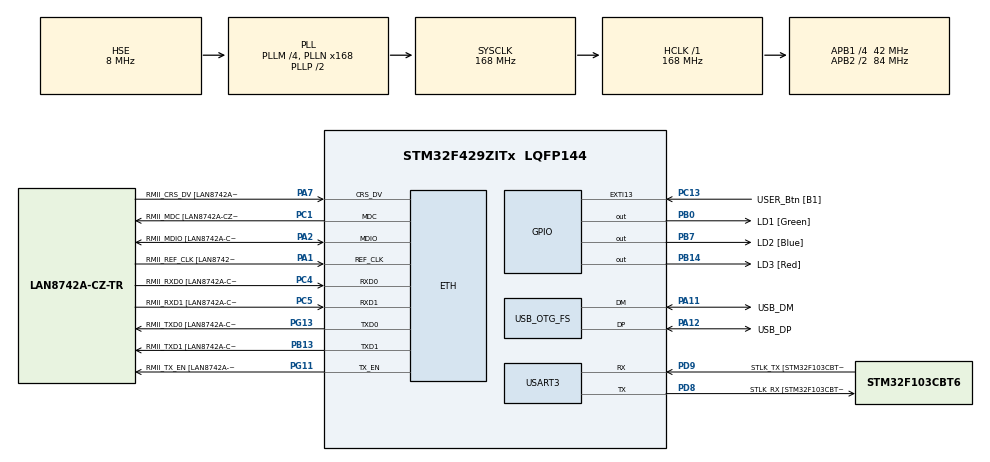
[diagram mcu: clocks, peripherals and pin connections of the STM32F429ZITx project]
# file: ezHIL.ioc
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ETH.MediaInterface=HAL_ETH_RMII_MODE
ETH.RxMode=ETH_RXINTERRUPT_MODE
Mcu.Family=STM32F4
Mcu.Name=STM32F429ZITx
Mcu.Package=LQFP144
NVIC.ETH_IRQn=true\:0\:0\:false\:false\:true\:false\:false\:true\:true
NVIC.OTG_FS_IRQn=true\:0\:0\:false\:false\:true\:false\:true\:true\:true
NVIC.PriorityGroup=NVIC_PRIORITYGROUP_4
NVIC.TIM6_DAC_IRQn=true\:15\:0\:false\:false\:true\:false\:false\:true\:true
NVIC.TimeBase=TIM6_DAC_IRQn
NVIC.TimeBaseIP=TIM6
NVIC.USART3_IRQn=true\:0\:0\:false\:false\:true\:false\:true\:true\:true
PA1.GPIO_Label=RMII_REF_CLK [LAN8742A-CZ-TR_REFCLK0]
PA1.Mode=RMII
PA1.Signal=ETH_REF_CLK
PA11.GPIO_Label=USB_DM
PA11.Mode=Device_Only
PA11.Signal=USB_OTG_FS_DM
PA12.GPIO_Label=USB_DP
PA12.Mode=Device_Only
PA12.Signal=USB_OTG_FS_DP
PA2.GPIO_Label=RMII_MDIO [LAN8742A-CZ-TR_MDIO]
PA2.Mode=RMII
PA2.Signal=ETH_MDIO
PA7.GPIO_Label=RMII_CRS_DV [LAN8742A-CZ-TR_CRS_DV]
PA7.Mode=RMII
PA7.Signal=ETH_CRS_DV
PB0.GPIO_Label=LD1 [Green]
PB0.Signal=GPIO_Output
PB13.GPIO_Label=RMII_TXD1 [LAN8742A-CZ-TR_TXD1]
PB13.Mode=RMII
PB13.Signal=ETH_TXD1
PB14.GPIO_Label=LD3 [Red]
PB14.Signal=GPIO_Output
PB7.GPIO_Label=LD2 [Blue]
PB7.Signal=GPIO_Output
PC1.GPIO_Label=RMII_MDC [LAN8742A-CZ-TR_MDC]
PC1.Mode=RMII
PC1.Signal=ETH_MDC
PC13.GPIO_Label=USER_Btn [B1]
PC13.Signal=GPXTI13
PC4.GPIO_Label=RMII_RXD0 [LAN8742A-CZ-TR_RXD0]
PC4.Mode=RMII
PC4.Signal=ETH_RXD0
PC5.GPIO_Label=RMII_RXD1 [LAN8742A-CZ-TR_RXD1]
PC5.Mode=RMII
PC5.Signal=ETH_RXD1
PD8.GPIO_Label=STLK_RX [STM32F103CBT6_PA3]
PD8.Mode=Asynchronous
PD8.Signal=USART3_TX
PD9.GPIO_Label=STLK_TX [STM32F103CBT6_PA2]
PD9.Mode=Asynchronous
PD9.Signal=USART3_RX
PG11.GPIO_Label=RMII_TX_EN [LAN8742A-CZ-TR_TXEN]
PG11.Mode=RMII
PG11.Signal=ETH_TX_EN
PG13.GPIO_Label=RMII_TXD0 [LAN8742A-CZ-TR_TXD0]
PG13.Mode=RMII
PG13.Signal=ETH_TXD0
PH0/OSC_IN.GPIO_Label=MCO [STM32F103CBT6_PA8]
PH0/OSC_IN.Mode=HSE-External-Oscillator
PH0/OSC_IN.Signal=RCC_OSC_IN
PH1/OSC_OUT.Mode=HSE-External-Oscillator
PH1/OSC_OUT.Signal=RCC_OSC_OUT
ProjectManager.HeapSize=0x200
ProjectManager.StackSize=0x400
ProjectManager.TargetToolchain=CMake
RCC.48MHZClocksFreq_Value=48000000
RCC.AHBFreq_Value=168000000
RCC.APB1CLKDivider=RCC_HCLK_DIV4
RCC.APB1Freq_Value=42000000
RCC.APB1TimFreq_Value=84000000
RCC.APB2CLKDivider=RCC_HCLK_DIV2
RCC.APB2Freq_Value=84000000
RCC.APB2TimCLKDivider=2
RCC.APB2TimFreq_Value=168000000
RCC.CortexFreq_Value=168000000
RCC.HCLKFreq_Value=168000000
RCC.HSE_VALUE=8000000
RCC.HSI_VALUE=16000000
RCC.LSE_VALUE=32768
RCC.PLLM=4
RCC.PLLMUL=RCC_PLL_MUL9
RCC.PLLN=168
RCC.PLLQ=7
RCC.PRESCALERUSB=RCC_USBCLKSOURCE_PLL_DIV1_5
RCC.PWREXT_OverDrive=PWREXT_OverDrive_ACTIVATED
RCC.PWR_Regulator_Voltage_Scale=PWR_REGULATOR_VOLTAGE_SCALE1
RCC.SYSCLKFreq_VALUE=168000000
RCC.SYSCLKSource=RCC_SYSCLKSOURCE_PLLCLK
RCC.SYSCLKSourceVirtual=RCC_SYSCLKSOURCE_PLLCLK
RCC.USBFreq_Value=48000000
RCC.VCOOutputFreq_Value=336000000
STMicroelectronics.X-CUBE-AZRTOS-F4.1.1.0.InterfacesCcNetworkJjEthernetOoInterface=true
STMicroelectronics.X-CUBE-AZRTOS-F4.1.1.0.InterfacesCcNetworkJjEthernetOoPhyOoInterface=LAN8742IiPhyIiInterface
STMicroelectronics.X-CUBE-AZRTOS-F4.1.1.0.NX_APP_MEM_POOL_SIZE=30*1024
STMicroelectronics.X-CUBE-AZRTOS-F4.1.1.0.NX_ENABLE_INTERFACE_CAPABILITY=true
STMicroelectronics.X-CUBE-AZRTOS-F4.1.1.0.NetXDuoCcNetworkJjNetXDuoJjAddonsOoDHCPOoClient=true
STMicroelectronics.X-CUBE-AZRTOS-F4.1.1.0.NetXDuoCcNetworkJjNetXDuoJjNXOoCore=true
STMicroelectronics.X-CUBE-AZRTOS-F4.1.1.0.STM32CubeIiBSPIiComponentsCcBoardOoPartJjETHPhyJjLAN8742=true
STMicroelectronics.X-CUBE-AZRTOS-F4.1.1.0.TX_TIMER_TICKS_PER_SECOND=1000
STMicroelectronics.X-CUBE-AZRTOS-F4.1.1.0.ThreadXCcRTOSJjThreadXJjCore=true
STMicroelectronics.X-CUBE-AZRTOS-F4.1.1.0.USBD_CDCACM_EPINCMD_ADDR=2
STMicroelectronics.X-CUBE-AZRTOS-F4.1.1.0.USBD_CDCACM_EPIN_ADDR=3
STMicroelectronics.X-CUBE-AZRTOS-F4.1.1.0.USBD_LANGID_STRING=1033
STMicroelectronics.X-CUBE-AZRTOS-F4.1.1.0.USBD_MANUFACTURER_STRING=EasyEmbedded
STMicroelectronics.X-CUBE-AZRTOS-F4.1.1.0.USBD_PID=22288
STMicroelectronics.X-CUBE-AZRTOS-F4.1.1.0.USBD_PRODUCT_STRING=EmbeddedEmulator
STMicroelectronics.X-CUBE-AZRTOS-F4.1.1.0.USBD_SERIAL_NUMBER=CDC_EEM1
STMicroelectronics.X-CUBE-AZRTOS-F4.1.1.0.USBD_VID=1155
STMicroelectronics.X-CUBE-AZRTOS-F4.1.1.0.USBXCcUSBJjUSBXJjCoreSystem=true
STMicroelectronics.X-CUBE-AZRTOS-F4.1.1.0.USBXCcUSBJjUSBXJjUXOoDeviceOoClassOoCDCOoACM=true
STMicroelectronics.X-CUBE-AZRTOS-F4.1.1.0.USBXCcUSBJjUSBXJjUXOoDeviceOoControllers=true
STMicroelectronics.X-CUBE-AZRTOS-F4.1.1.0.USBXCcUSBJjUSBXJjUXOoDeviceOoCoreStack=true
STMicroelectronics.X-CUBE-AZRTOS-F4.1.1.0.UX_DEVICE_APP_MEM_POOL_SIZE=1024*10
STMicroelectronics.X-CUBE-AZRTOS-F4.1.1.0.UX_SLAVE_REQUEST_DATA_MAX_LENGTH=512
STMicroelectronics.X-CUBE-AZRTOS-F4.1.1.0_IsAnAzureRtosMw=true
USART3.VirtualMode=VM_ASYNC
USB_OTG_FS.VirtualMode=Device_Only
VP_STMicroelectronics.X-CUBE-AZRTOS-F4_VS_BoardOoPartJjSTM32CubeIiBSPIiComponents_1.1.0_1.1.0.Mode=BoardOoPartJjSTM32CubeIiBSPIiComponents
VP_STMicroelectronics.X-CUBE-AZRTOS-F4_VS_NetworkJjInterfaces_2.1.0_1.1.0.Mode=NetworkJjInterfaces
VP_STMicroelectronics.X-CUBE-AZRTOS-F4_VS_NetworkJjNetXDuo_6.1.10_1.1.0.Mode=NetworkJjNetXDuo
VP_STMicroelectronics.X-CUBE-AZRTOS-F4_VS_RTOSJjThreadX_6.1.10_1.1.0.Mode=RTOSJjThreadX
VP_STMicroelectronics.X-CUBE-AZRTOS-F4_VS_USBJjUSBX_6.1.10_1.1.0.Mode=USBJjUSBX
VP_SYS_VS_tim6.Mode=TIM6
board=NUCLEO-F429ZI

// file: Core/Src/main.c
/* USER CODE BEGIN Header */
/**
  ******************************************************************************
  * @file           : main.c
  * @brief          : Main program body
  ******************************************************************************
  * @attention
  *
  * Copyright (c) 2024 STMicroelectronics.
  * All rights reserved.
  *
  * This software is licensed under terms that can be found in the LICENSE file
  * in the root directory of this software component.
  * If no LICENSE file comes with this software, it is provided AS-IS.
  *
  ******************************************************************************
  */
/* USER CODE END Header */
#include "app_threadx.h"
#include "main.h"
#include "string.h"

/* USER CODE BEGIN Includes */
#include <stdio.h>
#include "ez_easy_embedded.h"

#define DEBUG_LVL   LVL_INFO     /**< logging level */
#define MOD_NAME    "MAIN"       /**< module name */
#include "ez_logging.h"
/* USER CODE END Includes */

/* USER CODE BEGIN PD */
#ifdef __GNUC__
/* With GCC/RAISONANCE, small printf (option LD Linker->Libraries->Small printf
   set to 'Yes') calls __io_putchar() */
#define PUTCHAR_PROTOTYPE int __io_putchar(int ch)
#else
#define PUTCHAR_PROTOTYPE int fputc(int ch, FILE *f)
#endif /* __GNUC__ */
/* USER CODE END PD */

ETH_TxPacketConfig TxConfig;
ETH_DMADescTypeDef  DMARxDscrTab[ETH_RX_DESC_CNT]; /* Ethernet Rx DMA Descriptors */
ETH_DMADescTypeDef  DMATxDscrTab[ETH_TX_DESC_CNT]; /* Ethernet Tx DMA Descriptors */

ETH_HandleTypeDef heth;

UART_HandleTypeDef huart3;

PCD_HandleTypeDef hpcd_USB_OTG_FS;

void SystemClock_Config(void);
static void MX_GPIO_Init(void);
static void MX_USART3_UART_Init(void);
static void MX_ETH_Init(void);

int main(void)
{

  /* MCU Configuration--------------------------------------------------------*/

  /* Reset of all peripherals, Initializes the Flash interface and the Systick. */
  HAL_Init();

  /* Configure the system clock */
  SystemClock_Config();

  /* Initialize all configured peripherals */
  MX_GPIO_Init();
  MX_USART3_UART_Init();
  MX_ETH_Init();
  /* USER CODE BEGIN 2 */
  ezEasyEmbedded_Initialize();
  EZINFO("Start main");
  /* USER CODE END 2 */

  //MX_ThreadX_Init();

  /* We should never get here as control is now taken by the scheduler */

  /* Infinite loop */
  /* USER CODE BEGIN WHILE */
  while (1)
  {
    EZINFO("hello");
    HAL_Delay(2000);
    /* USER CODE END WHILE */

  }
}

void SystemClock_Config(void)
{
  RCC_OscInitTypeDef RCC_OscInitStruct = {0};
  RCC_ClkInitTypeDef RCC_ClkInitStruct = {0};

  /** Configure the main internal regulator output voltage
  */
  __HAL_RCC_PWR_CLK_ENABLE();
  __HAL_PWR_VOLTAGESCALING_CONFIG(PWR_REGULATOR_VOLTAGE_SCALE1);

  /** Initializes the RCC Oscillators according to the specified parameters
  * in the RCC_OscInitTypeDef structure.
  */
  RCC_OscInitStruct.OscillatorType = RCC_OSCILLATORTYPE_HSE;
  RCC_OscInitStruct.HSEState = RCC_HSE_ON;
  RCC_OscInitStruct.PLL.PLLState = RCC_PLL_ON;
  RCC_OscInitStruct.PLL.PLLSource = RCC_PLLSOURCE_HSE;
  RCC_OscInitStruct.PLL.PLLM = 4;
  RCC_OscInitStruct.PLL.PLLN = 168;
  RCC_OscInitStruct.PLL.PLLP = RCC_PLLP_DIV2;
  RCC_OscInitStruct.PLL.PLLQ = 7;
  if (HAL_RCC_OscConfig(&RCC_OscInitStruct) != HAL_OK)
  {
    Error_Handler();
  }

  /** Activate the Over-Drive mode
  */
  if (HAL_PWREx_EnableOverDrive() != HAL_OK)
  {
    Error_Handler();
  }

  /** Initializes the CPU, AHB and APB buses clocks
  */
  RCC_ClkInitStruct.ClockType = RCC_CLOCKTYPE_HCLK|RCC_CLOCKTYPE_SYSCLK
                              |RCC_CLOCKTYPE_PCLK1|RCC_CLOCKTYPE_PCLK2;
  RCC_ClkInitStruct.SYSCLKSource = RCC_SYSCLKSOURCE_PLLCLK;
  RCC_ClkInitStruct.AHBCLKDivider = RCC_SYSCLK_DIV1;
  RCC_ClkInitStruct.APB1CLKDivider = RCC_HCLK_DIV4;
  RCC_ClkInitStruct.APB2CLKDivider = RCC_HCLK_DIV2;

  if (HAL_RCC_ClockConfig(&RCC_ClkInitStruct, FLASH_LATENCY_5) != HAL_OK)
  {
    Error_Handler();
  }
}

static void MX_ETH_Init(void)
{

   static uint8_t MACAddr[6];

  heth.Instance = ETH;
  MACAddr[0] = 0x00;
  MACAddr[1] = 0x80;
  MACAddr[2] = 0xE1;
  MACAddr[3] = 0x00;
  MACAddr[4] = 0x00;
  MACAddr[5] = 0x00;
  heth.Init.MACAddr = &MACAddr[0];
  heth.Init.MediaInterface = HAL_ETH_RMII_MODE;
  heth.Init.TxDesc = DMATxDscrTab;
  heth.Init.RxDesc = DMARxDscrTab;
  heth.Init.RxBuffLen = 1536;

  if (HAL_ETH_Init(&heth) != HAL_OK)
  {
    Error_Handler();
  }

  memset(&TxConfig, 0 , sizeof(ETH_TxPacketConfig));
  TxConfig.Attributes = ETH_TX_PACKETS_FEATURES_CSUM | ETH_TX_PACKETS_FEATURES_CRCPAD;
  TxConfig.ChecksumCtrl = ETH_CHECKSUM_IPHDR_PAYLOAD_INSERT_PHDR_CALC;
  TxConfig.CRCPadCtrl = ETH_CRC_PAD_INSERT;

}

static void MX_USART3_UART_Init(void)
{

  huart3.Instance = USART3;
  huart3.Init.BaudRate = 115200;
  huart3.Init.WordLength = UART_WORDLENGTH_8B;
  huart3.Init.StopBits = UART_STOPBITS_1;
  huart3.Init.Parity = UART_PARITY_NONE;
  huart3.Init.Mode = UART_MODE_TX_RX;
  huart3.Init.HwFlowCtl = UART_HWCONTROL_NONE;
  huart3.Init.OverSampling = UART_OVERSAMPLING_16;
  if (HAL_UART_Init(&huart3) != HAL_OK)
  {
    Error_Handler();
  }

}

void MX_USB_OTG_FS_PCD_Init(void)
{

  hpcd_USB_OTG_FS.Instance = USB_OTG_FS;
  hpcd_USB_OTG_FS.Init.dev_endpoints = 4;
  hpcd_USB_OTG_FS.Init.speed = PCD_SPEED_FULL;
  hpcd_USB_OTG_FS.Init.dma_enable = DISABLE;
  hpcd_USB_OTG_FS.Init.phy_itface = PCD_PHY_EMBEDDED;
  hpcd_USB_OTG_FS.Init.Sof_enable = DISABLE;
  hpcd_USB_OTG_FS.Init.low_power_enable = DISABLE;
  hpcd_USB_OTG_FS.Init.lpm_enable = DISABLE;
  hpcd_USB_OTG_FS.Init.vbus_sensing_enable = DISABLE;
  hpcd_USB_OTG_FS.Init.use_dedicated_ep1 = DISABLE;
  if (HAL_PCD_Init(&hpcd_USB_OTG_FS) != HAL_OK)
  {
    Error_Handler();
  }

}

static void MX_GPIO_Init(void)
{
  GPIO_InitTypeDef GPIO_InitStruct = {0};

  /* GPIO Ports Clock Enable */
  __HAL_RCC_GPIOC_CLK_ENABLE();
  __HAL_RCC_GPIOH_CLK_ENABLE();
  __HAL_RCC_GPIOA_CLK_ENABLE();
  __HAL_RCC_GPIOB_CLK_ENABLE();
  __HAL_RCC_GPIOD_CLK_ENABLE();
  __HAL_RCC_GPIOG_CLK_ENABLE();

  /*Configure GPIO pin Output Level */
  HAL_GPIO_WritePin(GPIOB, LD1_Pin|LD3_Pin|LD2_Pin, GPIO_PIN_RESET);

  /*Configure GPIO pin : USER_Btn_Pin */
  GPIO_InitStruct.Pin = USER_Btn_Pin;
  GPIO_InitStruct.Mode = GPIO_MODE_IT_RISING;
  GPIO_InitStruct.Pull = GPIO_NOPULL;
  HAL_GPIO_Init(USER_Btn_GPIO_Port, &GPIO_InitStruct);

  /*Configure GPIO pins : LD1_Pin LD3_Pin LD2_Pin */
  GPIO_InitStruct.Pin = LD1_Pin|LD3_Pin|LD2_Pin;
  GPIO_InitStruct.Mode = GPIO_MODE_OUTPUT_PP;
  GPIO_InitStruct.Pull = GPIO_NOPULL;
  GPIO_InitStruct.Speed = GPIO_SPEED_FREQ_LOW;
  HAL_GPIO_Init(GPIOB, &GPIO_InitStruct);

}

/* USER CODE BEGIN 4 */
PUTCHAR_PROTOTYPE
{
  /* Place your implementation of fputc here */
  /* e.g. write a character to the USART1 and Loop until the end of transmission */
  HAL_UART_Transmit(&huart3, (uint8_t *)&ch, 1, 0xFFFF);

  return ch;
}
/* USER CODE END 4 */

void HAL_TIM_PeriodElapsedCallback(TIM_HandleTypeDef *htim)
{
  if (htim->Instance == TIM6) {
    HAL_IncTick();
  }
}

void Error_Handler(void)
{
  __disable_irq();
  while (1)
  {
  }
}
